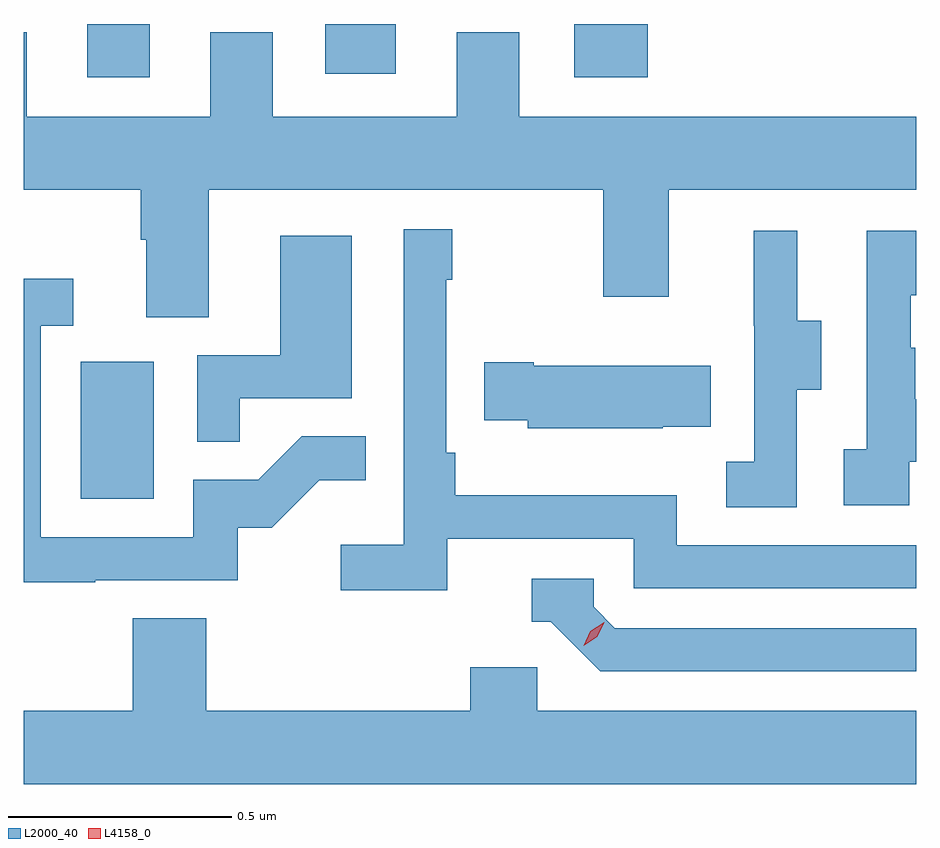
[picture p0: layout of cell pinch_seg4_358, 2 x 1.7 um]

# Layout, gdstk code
import gdstk
lib = gdstk.Library(unit=1e-6, precision=1e-09)
def R(c, l, rs):  # rectangles x0, y0, x1, y1
    for r in rs: c.add(gdstk.rectangle(r[:2], r[2:], *l))
def P(c, l, *ps):  # polygons
    for p in ps: c.add(gdstk.Polygon(p, *l))
L2000_40 = (2000, 40)
L4158_0 = (4158, 0)

pinch_seg4_358 = lib.new_cell('pinch_seg4_358')
R(pinch_seg4_358, L2000_40, [(1012.916,797.46,1013.08,797.767), (1012.931,798.405,1013.071,798.524), (1014.023,798.405,1014.188,798.524), (1013.465,798.413,1013.623,798.524)])
P(pinch_seg4_358, L2000_40, [(1013.899,798.506),(1013.759,798.506),(1013.759,798.316),(1013.347,798.316),(1013.347,798.506),(1013.207,798.506),(1013.207,798.316),(1012.795,798.316),(1012.795,798.506),(1012.789,798.506),(1012.789,798.152),(1013.051,798.152),(1013.051,798.04),(1013.063,798.04),(1013.063,797.866),(1013.203,797.866),(1013.203,798.152),(1014.088,798.152),(1014.088,797.913),(1014.235,797.913),(1014.235,798.152),(1014.789,798.152),(1014.789,798.316),(1013.899,798.316)],
  [(1013.738,797.37),(1014.156,797.37),(1014.156,797.259),(1014.789,797.259),(1014.789,797.355),(1014.252,797.355),(1014.252,797.467),(1013.756,797.467),(1013.756,797.563),(1013.736,797.563),(1013.736,797.951),(1013.749,797.951),(1013.749,798.064),(1013.64,798.064),(1013.64,797.356),(1013.499,797.356),(1013.499,797.254),(1013.738,797.254)],
  [(1014.522,797.704),(1014.577,797.704),(1014.577,797.859),(1014.523,797.859),(1014.523,798.061),(1014.425,798.061),(1014.425,797.847),(1014.426,797.847),(1014.426,797.543),(1014.363,797.543),(1014.363,797.44),(1014.522,797.44)],
  [(1014.774,797.543),(1014.789,797.543),(1014.789,797.683),(1014.787,797.683),(1014.787,797.798),(1014.777,797.798),(1014.777,797.916),(1014.789,797.916),(1014.789,798.061),(1014.678,798.061),(1014.678,797.57),(1014.627,797.57),(1014.627,797.445),(1014.774,797.445)],
  [(1013.273,797.685),(1013.524,797.685),(1013.524,798.049),(1013.363,798.049),(1013.363,797.781),(1013.178,797.781),(1013.178,797.587),(1013.273,797.587)],
  [(1012.949,797.277),(1013.268,797.277),(1013.268,797.394),(1013.344,797.394),(1013.451,797.501),(1013.555,797.501),(1013.555,797.6),(1013.412,797.6),(1013.314,797.502),(1013.169,797.502),(1013.169,797.373),(1012.827,797.373),(1012.827,797.847),(1012.9,797.847),(1012.9,797.953),(1012.789,797.953),(1012.789,797.272),(1012.949,797.272)],
  [(1014.221,797.621),(1014.329,797.621),(1014.329,797.758),(1013.932,797.758),(1013.932,797.766),(1013.821,797.766),(1013.821,797.636),(1013.919,797.636),(1013.919,797.618),(1014.221,797.618)],
  [(1014.789,797.169),(1014.114,797.169),(1014.066,797.217),(1014.066,797.28),(1013.927,797.28),(1013.927,797.184),(1013.97,797.184),(1014.081,797.073),(1014.789,797.073)],
  [(1014.789,796.984),(1013.94,796.984),(1013.94,797.082),(1013.789,797.082),(1013.789,796.984),(1013.198,796.984),(1013.198,797.192),(1013.033,797.192),(1013.033,796.984),(1012.789,796.984),(1012.789,796.82),(1014.789,796.82)])
P(pinch_seg4_358, L4158_0, [(1014.044,797.13),(1014.044,797.13),(1014.059,797.163),(1014.09,797.183),(1014.09,797.183),(1014.09,797.183),(1014.074,797.15),(1014.044,797.13)])

lib.write_gds('pinch_seg4_358.gds')
